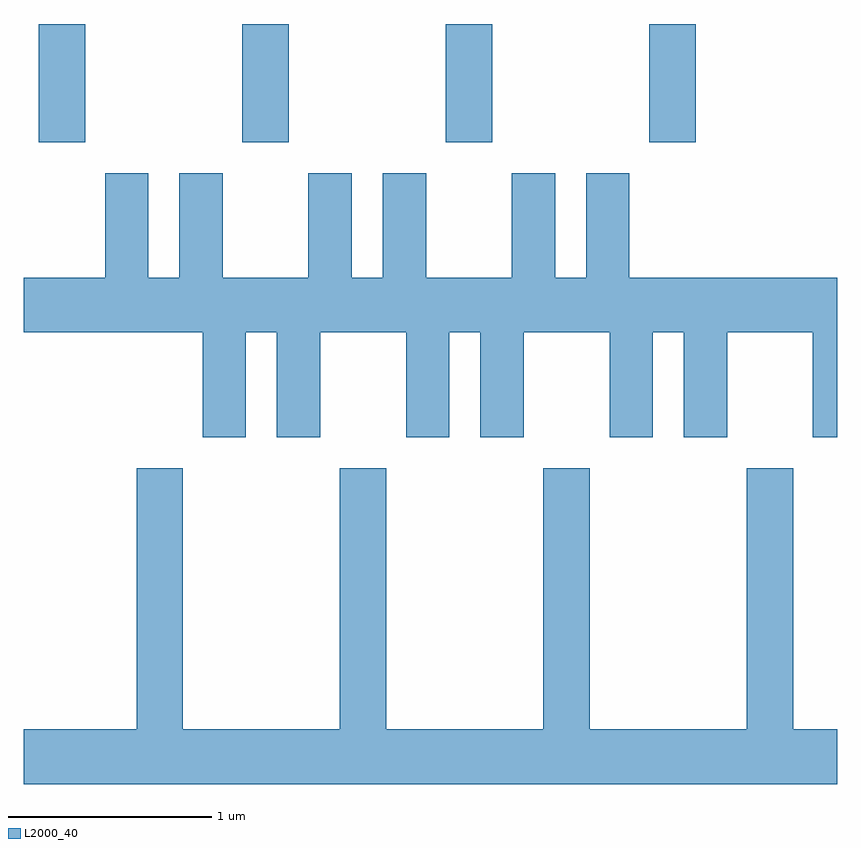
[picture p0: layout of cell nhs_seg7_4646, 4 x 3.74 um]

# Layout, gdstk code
import gdstk
lib = gdstk.Library(unit=1e-6, precision=1e-09)
def R(c, l, rs):  # rectangles x0, y0, x1, y1
    for r in rs: c.add(gdstk.rectangle(r[:2], r[2:], *l))
def A(c, l, x, y, w, h, nx, ny, dx, dy):  # array of equal rectangles
    R(c, l, [(x+i*dx, y+j*dy, x+i*dx+w, y+j*dy+h) for i in range(nx) for j in range(ny)])
def P(c, l, *ps):  # polygons
    for p in ps: c.add(gdstk.Polygon(p, *l))
L2000_40 = (2000, 40)

nhs_seg7_4646 = lib.new_cell('nhs_seg7_4646')
A(nhs_seg7_4646, L2000_40, 327.686, 1739.671, 0.228, 0.581, 4, 1, 1, 0)
P(nhs_seg7_4646, L2000_40, [(329.376,1739.004),(329.224,1739.004),(329.224,1739.519),(329.011,1739.519),(329.011,1739.004),(328.589,1739.004),(328.589,1739.519),(328.376,1739.519),(328.376,1739.004),(328.224,1739.004),(328.224,1739.519),(328.011,1739.519),(328.011,1739.004),(327.611,1739.004),(327.611,1738.736),(328.491,1738.736),(328.491,1738.221),(328.704,1738.221),(328.704,1738.736),(328.856,1738.736),(328.856,1738.221),(329.069,1738.221),(329.069,1738.736),(329.491,1738.736),(329.491,1738.221),(329.704,1738.221),(329.704,1738.736),(329.856,1738.736),(329.856,1738.221),(330.069,1738.221),(330.069,1738.736),(330.491,1738.736),(330.491,1738.221),(330.704,1738.221),(330.704,1738.736),(330.856,1738.736),(330.856,1738.221),(331.069,1738.221),(331.069,1738.736),(331.491,1738.736),(331.491,1738.221),(331.611,1738.221),(331.611,1739.004),(330.589,1739.004),(330.589,1739.519),(330.376,1739.519),(330.376,1739.004),(330.224,1739.004),(330.224,1739.519),(330.011,1739.519),(330.011,1739.004),(329.589,1739.004),(329.589,1739.519),(329.376,1739.519)],
  [(331.611,1736.784),(331.394,1736.784),(331.394,1738.069),(331.166,1738.069),(331.166,1736.784),(330.394,1736.784),(330.394,1738.069),(330.166,1738.069),(330.166,1736.784),(329.394,1736.784),(329.394,1738.069),(329.166,1738.069),(329.166,1736.784),(328.394,1736.784),(328.394,1738.069),(328.166,1738.069),(328.166,1736.784),(327.611,1736.784),(327.611,1736.516),(331.611,1736.516)])

lib.write_gds('nhs_seg7_4646.gds')
